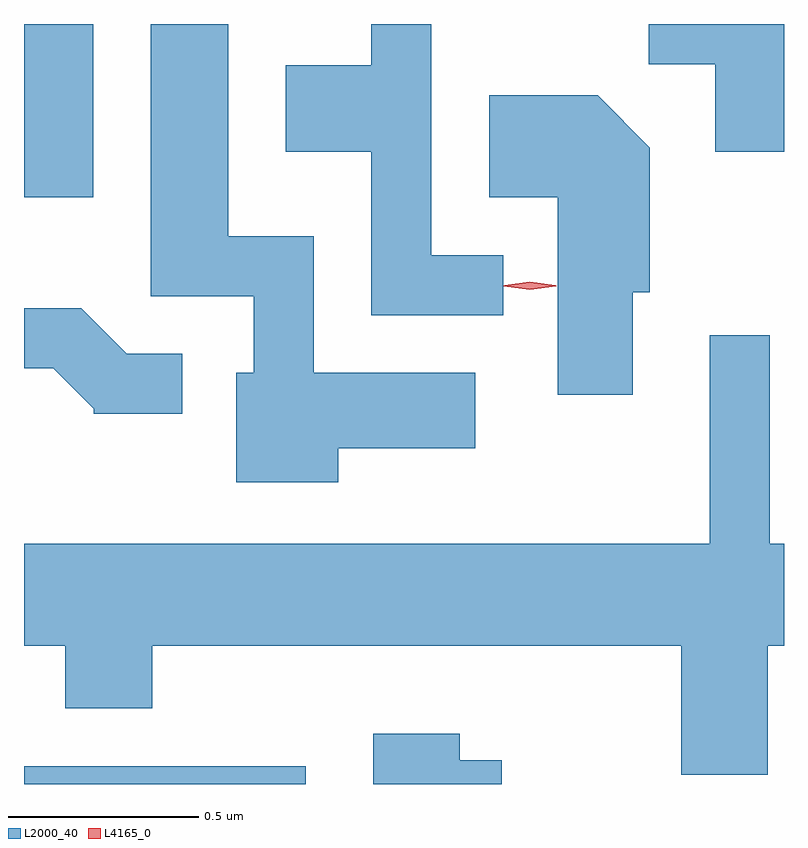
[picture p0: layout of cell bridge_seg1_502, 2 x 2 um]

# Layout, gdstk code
import gdstk
lib = gdstk.Library(unit=1e-6, precision=1e-09)
def R(c, l, rs):  # rectangles x0, y0, x1, y1
    for r in rs: c.add(gdstk.rectangle(r[:2], r[2:], *l))
def P(c, l, *ps):  # polygons
    for p in ps: c.add(gdstk.Polygon(p, *l))
L2000_40 = (2000, 40)
L4165_0 = (4165, 0)

bridge_seg1_502 = lib.new_cell('bridge_seg1_502')
R(bridge_seg1_502, L2000_40, [(470.627,870.352,471.369,870.399), (470.627,871.896,470.809,872.352)])
P(bridge_seg1_502, L2000_40, [(471.888,871.744),(471.699,871.744),(471.699,872.352),(471.541,872.352),(471.541,872.244),(471.316,872.244),(471.316,872.016),(471.541,872.016),(471.541,871.586),(471.888,871.586)],
  [(471.454,871.236),(471.814,871.236),(471.814,871.434),(471.389,871.434),(471.389,871.794),(471.164,871.794),(471.164,872.352),(470.961,872.352),(470.961,871.636),(471.231,871.636),(471.231,871.434),(471.186,871.434),(471.186,871.146),(471.454,871.146)],
  [(472.627,872.352),(472.271,872.352),(472.271,872.246),(472.446,872.246),(472.446,872.016),(472.627,872.016)],
  [(472.229,871.646),(472.274,871.646),(472.274,872.027),(472.137,872.164),(471.851,872.164),(471.851,871.896),(472.031,871.896),(472.031,871.376),(472.229,871.376)],
  [(471.043,871.484),(470.897,871.484),(470.777,871.604),(470.627,871.604),(470.627,871.446),(470.704,871.446),(470.81,871.34),(470.81,871.326),(471.043,871.326)],
  [(472.584,870.716),(472.627,870.716),(472.627,870.984),(472.589,870.984),(472.589,871.533),(472.431,871.533),(472.431,870.984),(470.627,870.984),(470.627,870.716),(470.736,870.716),(470.736,870.551),(470.964,870.551),(470.964,870.716),(472.356,870.716),(472.356,870.376),(472.584,870.376)],
  [(471.884,870.414),(471.774,870.414),(471.774,870.484),(471.546,870.484),(471.546,870.352),(471.884,870.352)])
P(bridge_seg1_502, L4165_0, [(471.958,871.654),(471.892,871.663),(471.892,871.664),(471.892,871.664),(471.958,871.674),(472.025,871.664),(472.025,871.664),(472.025,871.663)],
  [(471.958,871.653),(471.889,871.662),(471.888,871.663),(471.889,871.663),(471.958,871.673),(472.027,871.663),(472.028,871.663),(472.027,871.662)])

lib.write_gds('bridge_seg1_502.gds')
